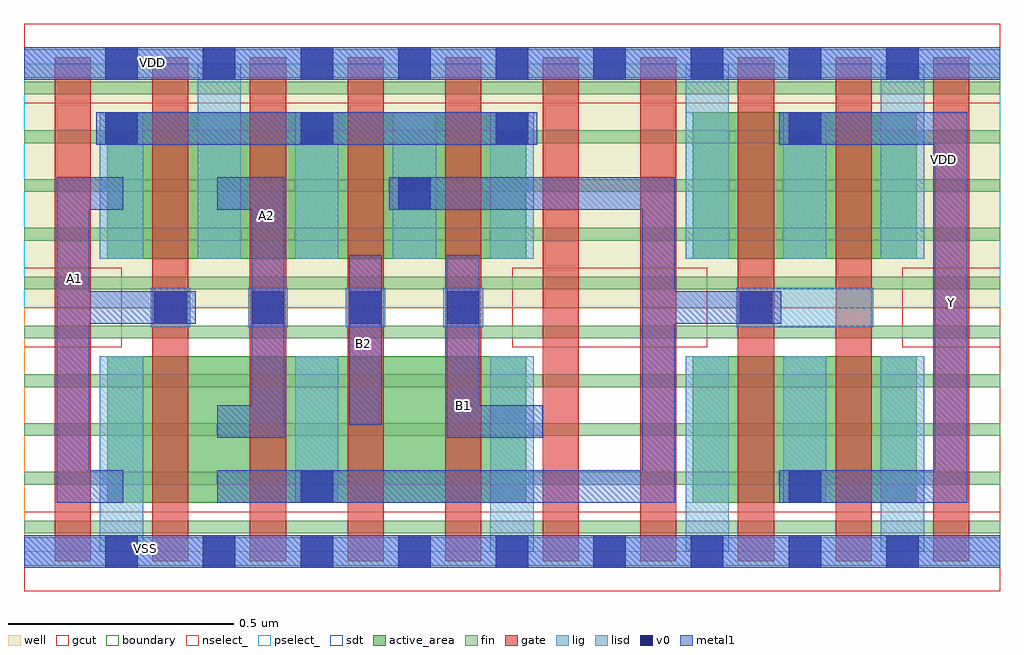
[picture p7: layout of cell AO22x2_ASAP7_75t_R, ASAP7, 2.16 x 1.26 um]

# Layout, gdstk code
import gdstk
lib = gdstk.Library(unit=1e-6, precision=2.5e-10)
def R(c, l, rs):  # rectangles x0, y0, x1, y1
    for r in rs: c.add(gdstk.rectangle(r[:2], r[2:], *l))
def A(c, l, x, y, w, h, nx, ny, dx, dy):  # array of equal rectangles
    R(c, l, [(x+i*dx, y+j*dy, x+i*dx+w, y+j*dy+h) for i in range(nx) for j in range(ny)])
def P(c, l, *ps):  # polygons
    for p in ps: c.add(gdstk.Polygon(p, *l))
well = (1, 0)
fin = (2, 0)
gate = (7, 0)
gcut = (10, 0)
active_area = (11, 0)
nselect_ = (12, 0)
pselect_ = (13, 0)
lig = (16, 0)
lisd = (17, 0)
v0 = (18, 0)
metal1 = (19, 0)
sdt = (88, 0)
boundary = (100, 0)

ao22x2_asap7_75t_r = lib.new_cell('AO22x2_ASAP7_75t_R')
R(ao22x2_asap7_75t_r, well, [(0,0.54,2.16,1.08)])
A(ao22x2_asap7_75t_r, fin, 0, 0.04, 2.16, 0.028, 1, 10, 0, 0.108)
A(ao22x2_asap7_75t_r, gate, 0.068, -0.022, 0.08, 1.116, 10, 1, 0.216, 0)
R(ao22x2_asap7_75t_r, gcut, [(0,-0.088,2.16,0.088), (0,0.452,0.216,0.628), (1.08,0.452,1.512,0.628), (1.944,0.452,2.16,0.628), (0,0.992,2.16,1.168)])
R(ao22x2_asap7_75t_r, active_area, [(0.184,0.108,1.112,0.432), (1.48,0.108,1.976,0.432), (0.184,0.648,1.112,0.972), (1.48,0.648,1.976,0.972)])
R(ao22x2_asap7_75t_r, nselect_, [(0,0,2.16,0.54)])
R(ao22x2_asap7_75t_r, pselect_, [(0,0.54,2.16,1.08)])
A(ao22x2_asap7_75t_r, lig, 0.28, 0.496, 0.088, 0.088, 4, 1, 0.216, 0)
R(ao22x2_asap7_75t_r, lig, [(0,-0.032,2.16,0.032), (1.576,0.496,1.88,0.584), (0,1.048,2.16,1.112)])
A(ao22x2_asap7_75t_r, lisd, 1.032, 0, 0.096, 0.432, 3, 1, 0.432, 0)
A(ao22x2_asap7_75t_r, lisd, 0.6, 0.648, 0.096, 0.324, 3, 1, 0.216, 0)
R(ao22x2_asap7_75t_r, lisd, [(0.168,0,0.264,0.432), (0.6,0.108,0.696,0.432), (1.68,0.108,1.776,0.432), (0.168,0.648,0.264,0.972), (0.384,0.648,0.48,1.08), (1.464,0.648,1.56,1.08), (1.68,0.648,1.776,0.972), (1.896,0.648,1.992,1.08)])
A(ao22x2_asap7_75t_r, v0, 0.18, -0.036, 0.072, 0.072, 9, 2, 0.216, 1.08)
A(ao22x2_asap7_75t_r, v0, 0.288, 0.504, 0.072, 0.072, 4, 1, 0.216, 0)
A(ao22x2_asap7_75t_r, v0, 0.18, 0.9, 0.072, 0.072, 3, 1, 0.432, 0)
R(ao22x2_asap7_75t_r, v0, [(0.612,0.108,0.684,0.18), (1.692,0.108,1.764,0.18), (1.584,0.504,1.656,0.576), (0.828,0.756,0.9,0.828), (1.692,0.9,1.764,0.972)])
R(ao22x2_asap7_75t_r, metal1, [(0,-0.036,2.16,0.036), (0.72,0.28,0.792,0.656), (0.16,0.9,1.136,0.972), (0,1.044,2.16,1.116)])
P(ao22x2_asap7_75t_r, metal1, [(0.428,0.252),(0.428,0.324),(0.504,0.324),(0.504,0.756),(0.428,0.756),(0.428,0.828),(0.576,0.828),(0.576,0.252)],
  [(0.936,0.252),(0.936,0.656),(1.008,0.656),(1.008,0.324),(1.148,0.324),(1.148,0.252)],
  [(0.428,0.108),(0.428,0.18),(1.368,0.18),(1.368,0.756),(0.808,0.756),(0.808,0.828),(1.44,0.828),(1.44,0.576),(1.676,0.576),(1.676,0.504),(1.44,0.504),(1.44,0.108)],
  [(1.672,0.108),(1.672,0.18),(2.016,0.18),(2.016,0.9),(1.672,0.9),(1.672,0.972),(2.088,0.972),(2.088,0.108)],
  [(0.072,0.108),(0.072,0.828),(0.22,0.828),(0.22,0.756),(0.144,0.756),(0.144,0.576),(0.38,0.576),(0.38,0.504),(0.144,0.504),(0.144,0.18),(0.22,0.18),(0.22,0.108)])
A(ao22x2_asap7_75t_r, sdt, 0.168, 0.108, 0.096, 0.324, 4, 1, 0.432, 0)
A(ao22x2_asap7_75t_r, sdt, 0.168, 0.648, 0.096, 0.324, 5, 1, 0.216, 0)
A(ao22x2_asap7_75t_r, sdt, 1.464, 0.648, 0.096, 0.324, 3, 1, 0.216, 0)
R(ao22x2_asap7_75t_r, sdt, [(1.68,0.108,1.776,0.432), (1.896,0.108,1.992,0.432)])
R(ao22x2_asap7_75t_r, boundary, [(0,0,2.16,1.08)])
ao22x2_asap7_75t_r.add(gdstk.Label('A1', (0.112,0.604), layer=19, texttype=251))
ao22x2_asap7_75t_r.add(gdstk.Label('A2', (0.536,0.744), layer=19, texttype=251))
ao22x2_asap7_75t_r.add(gdstk.Label('VDD', (0.284,1.082), layer=19, texttype=251))
ao22x2_asap7_75t_r.add(gdstk.Label('B2', (0.752,0.46), layer=19, texttype=251))
ao22x2_asap7_75t_r.add(gdstk.Label('Y', (2.052,0.552), layer=19, texttype=251))
ao22x2_asap7_75t_r.add(gdstk.Label('B1', (0.972,0.324), layer=19, texttype=251))
ao22x2_asap7_75t_r.add(gdstk.Label('VSS', (0.268,0.006), layer=19, texttype=251))
ao22x2_asap7_75t_r.add(gdstk.Label('VDD', (2.036,0.868), layer=1, texttype=251))
ao22x2_asap7_75t_r.add(gdstk.Label('VSS', (2.312,0.864), layer=3, texttype=251))

lib.write_gds('AO22x2_ASAP7_75t_R.gds')
